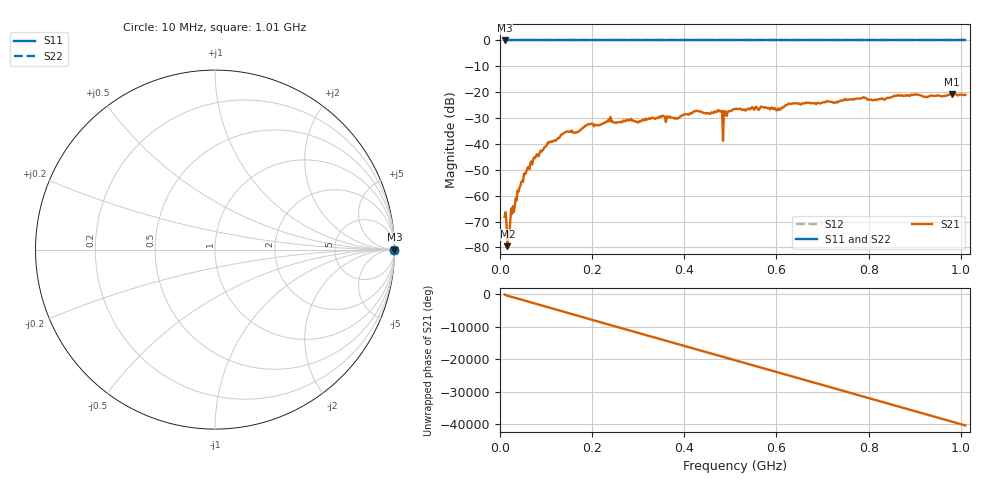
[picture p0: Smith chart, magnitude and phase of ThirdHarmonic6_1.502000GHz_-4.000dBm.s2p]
! 8/16/2025 5:38:45 PM
! C:\ANRITSUVNA\TEMP\TEMP.S2P
! CHANNEL.1
! TR.MEASUREMENT
! RAW.DATA
! RF.CORRECTION.OFF
! AVERAGING.OFF
! IF.BANDWIDTH: 5KHZ
! SWEEPTYPE:  FREQ.SWEEP(Linear)
! Reference Plane Port Info
! PORT:  PORT1  PORT2
! DISTANCE:  0  m  0  m
! TIME:  0  s  0  s
! PHASE.OFFSET:  0  deg.  0  deg.
! LOSS:  0  dB  0  dB
! REF.LOSS:  0  dB  0  dB
! REF.FREQ:  0  Hz  0  Hz
! Power Info
! POWER:  -20  dBm  -20  dBm
! EFF.POWER:  -20  dBm  -20  dBm
! SOURCE.ATTEN:  0  dB  0  dB
! TEST.ATTEN:  0  dB  0  dB
# GHZ S RI R 50.0
! FREQ.GHZ  S11RE  S11IM  S21RE  S21IM  S12RE  S12IM  S22RE  S22IM
!; PortSelection: Port_12
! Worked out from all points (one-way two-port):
!   501 points, 10 MHz to 1.01 GHz, reference 50 ohm
!   highest |S21| = -20.70 dB at 980 MHz (marker M1); lowest = -79.5 dB at 16 MHz (marker M2)
!   lowest |S11| = 0.0 dB at 10 MHz (marker M3)
!   |S11| at or under -10 dB: nowhere
!   |S22| runs from 0.0 to 0.0 dB; largest |S21 - S12| = 1.1
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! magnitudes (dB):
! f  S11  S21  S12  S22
! 10 MHz  0.0  -68.2  0.0  0.0
! 16 MHz  0.0  -79.5  0.0  0.0
! 20 MHz  0.0  -74.6  0.0  0.0
! 26 MHz  0.0  -67.1  0.0  0.0
! 42 MHz  0.0  -57.0  0.0  0.0
! 56 MHz  0.0  -51.3  0.0  0.0
! 76 MHz  0.0  -45.5  0.0  0.0
! 140 MHz  0.0  -35.6  0.0  0.0
! 178 MHz  0.0  -34.0  0.0  0.0
! 236 MHz  0.0  -30.4  0.0  0.0
! 344 MHz  0.0  -30.0  0.0  0.0
! 478 MHz  0.0  -27.5  0.0  0.0
! 480 MHz  0.0  -27.3  0.0  0.0
! 488 MHz  0.0  -27.3  0.0  0.0
! 490 MHz  0.0  -27.6  0.0  0.0
! 510 MHz  0.0  -26.5  0.0  0.0
! 604 MHz  0.0  -26.3  0.0  0.0
! 630 MHz  0.0  -24.5  0.0  0.0
! 678 MHz  0.0  -24.2  0.0  0.0
! 844 MHz  0.0  -22.2  0.0  0.0
! 980 MHz  0.0  -20.7  0.0  0.0
! 1.01 GHz  0.0  -21.0  0.0  0.0
